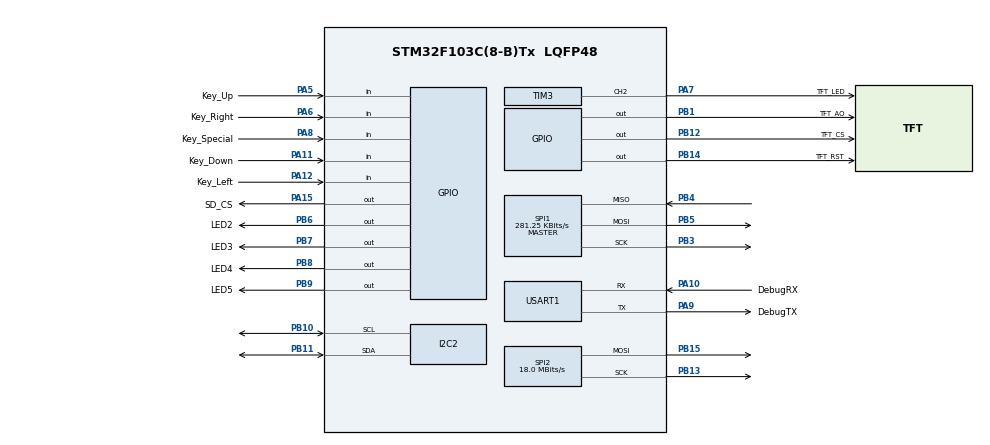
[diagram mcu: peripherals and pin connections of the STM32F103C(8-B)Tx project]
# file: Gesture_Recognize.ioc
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FATFS._MAX_LFN=12
FREERTOS.Queues01=KeyQueue,10,Key_Statu_Typedef,0,Dynamic,NULL,NULL
FREERTOS.Tasks01=defaultTask,-2,64,StartDefaultTask,Default,NULL,Dynamic,NULL,NULL;GUITask,-1,512,StartGUITask,Default,NULL,Dynamic,NULL,NULL;KeyTask,2,128,StartKeyTask,Default,NULL,Dynamic,NULL,NULL;FDCTask,3,256,StartFDCTask,Default,NULL,Dynamic,NULL,NULL
FREERTOS.configENABLE_BACKWARD_COMPATIBILITY=0
FREERTOS.configIDLE_SHOULD_YIELD=0
FREERTOS.configMAX_TASK_NAME_LEN=12
FREERTOS.configMINIMAL_STACK_SIZE=64
FREERTOS.configQUEUE_REGISTRY_SIZE=0
FREERTOS.configTOTAL_HEAP_SIZE=5210
FREERTOS.configUSE_MUTEXES=1
FREERTOS.configUSE_TASK_NOTIFICATIONS=0
FREERTOS.configUSE_TICKLESS_IDLE=0
I2C2.I2C_Mode=I2C_Fast
Mcu.Family=STM32F1
Mcu.Name=STM32F103C(8-B)Tx
Mcu.Package=LQFP48
NVIC.PriorityGroup=NVIC_PRIORITYGROUP_4
NVIC.TIM4_IRQn=true\:0\:0\:false\:false\:true\:false\:false
NVIC.TimeBase=TIM4_IRQn
NVIC.TimeBaseIP=TIM4
PA10.GPIO_Label=DebugRX
PA10.Mode=Asynchronous
PA10.Signal=USART1_RX
PA11.GPIO_Label=Key_Down
PA11.GPIO_PuPd=GPIO_PULLDOWN
PA11.Signal=GPIO_Input
PA12.GPIO_Label=Key_Left
PA12.GPIO_PuPd=GPIO_PULLDOWN
PA12.Signal=GPIO_Input
PA13.Mode=Serial_Wire
PA13.Signal=SYS_JTMS-SWDIO
PA14.Mode=Serial_Wire
PA14.Signal=SYS_JTCK-SWCLK
PA15.GPIO_Label=SD_CS
PA15.Signal=GPIO_Output
PA5.GPIO_Label=Key_Up
PA5.GPIO_PuPd=GPIO_PULLDOWN
PA5.Signal=GPIO_Input
PA6.GPIO_Label=Key_Right
PA6.GPIO_PuPd=GPIO_PULLDOWN
PA6.Signal=GPIO_Input
PA7.GPIO_Label=TFT_LED
PA7.Signal=S_TIM3_CH2
PA8.GPIO_Label=Key_Special
PA8.GPIO_PuPd=GPIO_PULLDOWN
PA8.Signal=GPIO_Input
PA9.GPIO_Label=DebugTX
PA9.Mode=Asynchronous
PA9.Signal=USART1_TX
PB1.GPIO_Label=TFT_AO
PB1.GPIO_Speed=GPIO_SPEED_FREQ_HIGH
PB1.Signal=GPIO_Output
PB10.Mode=I2C
PB10.Signal=I2C2_SCL
PB11.Mode=I2C
PB11.Signal=I2C2_SDA
PB12.GPIO_Label=TFT_CS
PB12.GPIO_Speed=GPIO_SPEED_FREQ_HIGH
PB12.Signal=GPIO_Output
PB13.Mode=TX_Only_Simplex_Unidirect_Master
PB13.Signal=SPI2_SCK
PB14.GPIO_Label=TFT_RST
PB14.GPIO_Speed=GPIO_SPEED_FREQ_HIGH
PB14.Signal=GPIO_Output
PB15.Mode=TX_Only_Simplex_Unidirect_Master
PB15.Signal=SPI2_MOSI
PB3.Mode=Full_Duplex_Master
PB3.Signal=SPI1_SCK
PB4.Mode=Full_Duplex_Master
PB4.Signal=SPI1_MISO
PB5.Mode=Full_Duplex_Master
PB5.Signal=SPI1_MOSI
PB6.GPIO_Label=LED2
PB6.GPIO_Speed=GPIO_SPEED_FREQ_HIGH
PB6.PinState=GPIO_PIN_SET
PB6.Signal=GPIO_Output
PB7.GPIO_Label=LED3
PB7.GPIO_Speed=GPIO_SPEED_FREQ_HIGH
PB7.PinState=GPIO_PIN_SET
PB7.Signal=GPIO_Output
PB8.GPIO_Label=LED4
PB8.GPIO_Speed=GPIO_SPEED_FREQ_HIGH
PB8.PinState=GPIO_PIN_SET
PB8.Signal=GPIO_Output
PB9.GPIO_Label=LED5
PB9.GPIO_Speed=GPIO_SPEED_FREQ_HIGH
PB9.PinState=GPIO_PIN_SET
PB9.Signal=GPIO_Output
PD0-OSC_IN.Mode=HSE-External-Oscillator
PD0-OSC_IN.Signal=RCC_OSC_IN
PD1-OSC_OUT.Mode=HSE-External-Oscillator
PD1-OSC_OUT.Signal=RCC_OSC_OUT
ProjectManager.HeapSize=0x400
ProjectManager.StackSize=0x600
ProjectManager.TargetToolchain=MDK-ARM V5
RCC.AHBFreq_Value=72000000
RCC.APB1CLKDivider=RCC_HCLK_DIV2
RCC.APB1Freq_Value=36000000
RCC.APB1TimFreq_Value=72000000
RCC.APB2Freq_Value=72000000
RCC.APB2TimFreq_Value=72000000
RCC.EnbaleCSS=true
RCC.HCLKFreq_Value=72000000
RCC.HSE_VALUE=12000000
RCC.PLLMUL=RCC_PLL_MUL6
RCC.PLLSourceVirtual=RCC_PLLSOURCE_HSE
RCC.PREFETCH_ENABLE=1
RCC.SYSCLKFreq_VALUE=72000000
RCC.SYSCLKSource=RCC_SYSCLKSOURCE_PLLCLK
RCC.USBFreq_Value=72000000
SH.S_TIM3_CH2.0=TIM3_CH2,PWM Generation2 CH2
SPI1.BaudRatePrescaler=SPI_BAUDRATEPRESCALER_256
SPI1.CLKPhase=SPI_PHASE_2EDGE
SPI1.CLKPolarity=SPI_POLARITY_HIGH
SPI1.CalculateBaudRate=281.25 KBits/s
SPI1.Direction=SPI_DIRECTION_2LINES
SPI1.Mode=SPI_MODE_MASTER
SPI1.VirtualType=VM_MASTER
SPI2.CLKPhase=SPI_PHASE_1EDGE
SPI2.CLKPolarity=SPI_POLARITY_LOW
SPI2.CalculateBaudRate=18.0 MBits/s
SPI2.Direction=SPI_DIRECTION_2LINES
SPI2.Mode=SPI_MODE_MASTER
SPI2.VirtualType=VM_MASTER
TIM3.Channel-PWM\ Generation2\ CH2=TIM_CHANNEL_2
TIM3.Period=11
TIM3.Prescaler=72-1
TIM3.Pulse-PWM\ Generation2\ CH2=11
USART1.VirtualMode=VM_ASYNC
VP_CRC_VS_CRC.Mode=CRC_Activate
VP_FATFS_VS_Generic.Mode=User_defined
VP_FREERTOS_VS_ENABLE.Mode=Enabled
VP_SYS_VS_tim4.Mode=TIM4
VP_TIM3_VS_ClockSourceINT.Mode=Internal
board=custom

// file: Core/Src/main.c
/* USER CODE BEGIN Header */
/**
  ******************************************************************************
  * @file           : main.c
  * @brief          : Main program body
  ******************************************************************************
  * This notice applies to any and all portions of this file
  * that are not between comment pairs USER CODE BEGIN and
  * USER CODE END. Other portions of this file, whether
  * inserted by the user or by software development tools
  * are owned by their respective copyright owners.
  *
  * Copyright (c) 2018 STMicroelectronics International N.V.
  * All rights reserved.
  *
  * Redistribution and use in source and binary forms, with or without
  * modification, are permitted, provided that the following conditions are met:
  *
  * 1. Redistribution of source code must retain the above copyright notice,
  *    this list of conditions and the following disclaimer.
  * 2. Redistributions in binary form must reproduce the above copyright notice,
  *    this list of conditions and the following disclaimer in the documentation
  *    and/or other materials provided with the distribution.
  * 3. Neither the name of STMicroelectronics nor the names of other
  *    contributors to this software may be used to endorse or promote products
  *    derived from this software without specific written permission.
  * 4. This software, including modifications and/or derivative works of this
  *    software, must execute solely and exclusively on microcontroller or
  *    microprocessor devices manufactured by or for STMicroelectronics.
  * 5. Redistribution and use of this software other than as permitted under
  *    this license is void and will automatically terminate your rights under
  *    this license.
  *
  * THIS SOFTWARE IS PROVIDED BY STMICROELECTRONICS AND CONTRIBUTORS "AS IS"
  * AND ANY EXPRESS, IMPLIED OR STATUTORY WARRANTIES, INCLUDING, BUT NOT
  * LIMITED TO, THE IMPLIED WARRANTIES OF MERCHANTABILITY, FITNESS FOR A
  * PARTICULAR PURPOSE AND NON-INFRINGEMENT OF THIRD PARTY INTELLECTUAL PROPERTY
  * RIGHTS ARE DISCLAIMED TO THE FULLEST EXTENT PERMITTED BY LAW. IN NO EVENT
  * SHALL STMICROELECTRONICS OR CONTRIBUTORS BE LIABLE FOR ANY DIRECT, INDIRECT,
  * INCIDENTAL, SPECIAL, EXEMPLARY, OR CONSEQUENTIAL DAMAGES (INCLUDING, BUT NOT
  * LIMITED TO, PROCUREMENT OF SUBSTITUTE GOODS OR SERVICES; LOSS OF USE, DATA,
  * OR PROFITS; OR BUSINESS INTERRUPTION) HOWEVER CAUSED AND ON ANY THEORY OF
  * LIABILITY, WHETHER IN CONTRACT, STRICT LIABILITY, OR TORT (INCLUDING
  * NEGLIGENCE OR OTHERWISE) ARISING IN ANY WAY OUT OF THE USE OF THIS SOFTWARE,
  * EVEN IF ADVISED OF THE POSSIBILITY OF SUCH DAMAGE.
  *
  ******************************************************************************
  */
/* USER CODE END Header */

#include "main.h"
#include "cmsis_os.h"
#include "crc.h"
#include "fatfs.h"
#include "i2c.h"
#include "spi.h"
#include "tim.h"
#include "usart.h"
#include "gpio.h"

void SystemClock_Config(void);
void MX_FREERTOS_Init(void);

int main(void)
{

  /* MCU Configuration--------------------------------------------------------*/

  /* Reset of all peripherals, Initializes the Flash interface and the Systick. */
  HAL_Init();

  /* Configure the system clock */
  SystemClock_Config();

  /* Initialize all configured peripherals */
  MX_GPIO_Init();
  MX_I2C2_Init();
  MX_TIM3_Init();
  MX_CRC_Init();
  MX_SPI1_Init();
  MX_USART1_UART_Init();
  MX_SPI2_Init();
  /* USER CODE BEGIN 2 */
  HAL_TIM_Base_Start(&htim3);
  HAL_TIM_PWM_Start(&htim3, TIM_CHANNEL_2);
  /* USER CODE END 2 */

  /* Call init function for freertos objects (in freertos.c) */
  MX_FREERTOS_Init();

  /* Start scheduler */
  osKernelStart();

  /* We should never get here as control is now taken by the scheduler */

  /* Infinite loop */
  while (1)
  {

  }
}

void SystemClock_Config(void)
{
  LL_FLASH_SetLatency(LL_FLASH_LATENCY_2);

   if(LL_FLASH_GetLatency() != LL_FLASH_LATENCY_2)
  {
    Error_Handler();
  }
  LL_RCC_HSE_Enable();

   /* Wait till HSE is ready */
  while(LL_RCC_HSE_IsReady() != 1)
  {

  }
  LL_RCC_HSE_EnableCSS();
  LL_RCC_PLL_ConfigDomain_SYS(LL_RCC_PLLSOURCE_HSE_DIV_1, LL_RCC_PLL_MUL_6);
  LL_RCC_PLL_Enable();

   /* Wait till PLL is ready */
  while(LL_RCC_PLL_IsReady() != 1)
  {

  }
  LL_RCC_SetAHBPrescaler(LL_RCC_SYSCLK_DIV_1);
  LL_RCC_SetAPB1Prescaler(LL_RCC_APB1_DIV_2);
  LL_RCC_SetAPB2Prescaler(LL_RCC_APB2_DIV_1);
  LL_RCC_SetSysClkSource(LL_RCC_SYS_CLKSOURCE_PLL);

   /* Wait till System clock is ready */
  while(LL_RCC_GetSysClkSource() != LL_RCC_SYS_CLKSOURCE_STATUS_PLL)
  {

  }
  LL_Init1msTick(72000000);
  LL_SYSTICK_SetClkSource(LL_SYSTICK_CLKSOURCE_HCLK);
  LL_SetSystemCoreClock(72000000);
}

void HAL_TIM_PeriodElapsedCallback(TIM_HandleTypeDef *htim)
{
  if (htim->Instance == TIM4) {
    HAL_IncTick();
  }
}

void Error_Handler(void)
{
}

/************************ (C) COPYRIGHT STMicroelectronics *****END OF FILE****/

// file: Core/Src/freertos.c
/* USER CODE BEGIN Header */
/**
  ******************************************************************************
  * File Name          : freertos.c
  * Description        : Code for freertos applications
  ******************************************************************************
  * This notice applies to any and all portions of this file
  * that are not between comment pairs USER CODE BEGIN and
  * USER CODE END. Other portions of this file, whether
  * inserted by the user or by software development tools
  * are owned by their respective copyright owners.
  *
  * Copyright (c) 2018 STMicroelectronics International N.V.
  * All rights reserved.
  *
  * Redistribution and use in source and binary forms, with or without
  * modification, are permitted, provided that the following conditions are met:
  *
  * 1. Redistribution of source code must retain the above copyright notice,
  *    this list of conditions and the following disclaimer.
  * 2. Redistributions in binary form must reproduce the above copyright notice,
  *    this list of conditions and the following disclaimer in the documentation
  *    and/or other materials provided with the distribution.
  * 3. Neither the name of STMicroelectronics nor the names of other
  *    contributors to this software may be used to endorse or promote products
  *    derived from this software without specific written permission.
  * 4. This software, including modifications and/or derivative works of this
  *    software, must execute solely and exclusively on microcontroller or
  *    microprocessor devices manufactured by or for STMicroelectronics.
  * 5. Redistribution and use of this software other than as permitted under
  *    this license is void and will automatically terminate your rights under
  *    this license.
  *
  * THIS SOFTWARE IS PROVIDED BY STMICROELECTRONICS AND CONTRIBUTORS "AS IS"
  * AND ANY EXPRESS, IMPLIED OR STATUTORY WARRANTIES, INCLUDING, BUT NOT
  * LIMITED TO, THE IMPLIED WARRANTIES OF MERCHANTABILITY, FITNESS FOR A
  * PARTICULAR PURPOSE AND NON-INFRINGEMENT OF THIRD PARTY INTELLECTUAL PROPERTY
  * RIGHTS ARE DISCLAIMED TO THE FULLEST EXTENT PERMITTED BY LAW. IN NO EVENT
  * SHALL STMICROELECTRONICS OR CONTRIBUTORS BE LIABLE FOR ANY DIRECT, INDIRECT,
  * INCIDENTAL, SPECIAL, EXEMPLARY, OR CONSEQUENTIAL DAMAGES (INCLUDING, BUT NOT
  * LIMITED TO, PROCUREMENT OF SUBSTITUTE GOODS OR SERVICES; LOSS OF USE, DATA,
  * OR PROFITS; OR BUSINESS INTERRUPTION) HOWEVER CAUSED AND ON ANY THEORY OF
  * LIABILITY, WHETHER IN CONTRACT, STRICT LIABILITY, OR TORT (INCLUDING
  * NEGLIGENCE OR OTHERWISE) ARISING IN ANY WAY OUT OF THE USE OF THIS SOFTWARE,
  * EVEN IF ADVISED OF THE POSSIBILITY OF SUCH DAMAGE.
  *
  ******************************************************************************
  */
/* USER CODE END Header */

#include "FreeRTOS.h"
#include "task.h"
#include "main.h"
#include "cmsis_os.h"

/* USER CODE BEGIN Includes */
#include "gui.h"
#include "BSP_Key.h"
#include "BSP_LED.h"
#include "BSP_FDC2214.h"

#include "stdlib.h"
#include "string.h"

#include "fatfs.h"

#include "DIALOG.h"
#include "arm_math.h"
/* USER CODE END Includes */

/* USER CODE BEGIN Variables */
uint8_t Gest=0;

float32_t Cap_Mean=0;

/* USER CODE END Variables */
osThreadId defaultTaskHandle;
osThreadId GUITaskHandle;
osThreadId KeyTaskHandle;
osThreadId FDCTaskHandle;
osMessageQId KeyQueueHandle;

/* USER CODE BEGIN FunctionPrototypes */
WM_HWIN CreateMenu(void);
/* USER CODE END FunctionPrototypes */

void StartDefaultTask(void const *argument);
void StartGUITask(void const *argument);
void StartKeyTask(void const *argument);
void StartFDCTask(void const *argument);

void MX_FREERTOS_Init(void); /* (MISRA C 2004 rule 8.1) */

void MX_FREERTOS_Init(void)
{

  /* Create the thread(s) */
  /* definition and creation of defaultTask */
  osThreadDef(defaultTask, StartDefaultTask, osPriorityLow, 0, 64);
  defaultTaskHandle = osThreadCreate(osThread(defaultTask), NULL);

  /* definition and creation of GUITask */
  osThreadDef(GUITask, StartGUITask, osPriorityBelowNormal, 0, 512);
  GUITaskHandle = osThreadCreate(osThread(GUITask), NULL);

  /* definition and creation of KeyTask */
  osThreadDef(KeyTask, StartKeyTask, osPriorityHigh, 0, 128);
  KeyTaskHandle = osThreadCreate(osThread(KeyTask), NULL);

  /* definition and creation of FDCTask */
  osThreadDef(FDCTask, StartFDCTask, osPriorityRealtime, 0, 256);
  FDCTaskHandle = osThreadCreate(osThread(FDCTask), NULL);

  /* Create the queue(s) */
  /* definition and creation of KeyQueue */
  osMessageQDef(KeyQueue, 10, Key_Statu_Typedef);
  KeyQueueHandle = osMessageCreate(osMessageQ(KeyQueue), NULL);

}

void StartDefaultTask(void const *argument)
{
  /* USER CODE BEGIN StartDefaultTask */
  /* Infinite loop */
  for (;;)
  {
    LED2_ON;
    osDelay(100);
    LED2_OFF;

    LED3_ON;
    osDelay(100);
    LED3_OFF;

    LED4_ON;
    osDelay(100);
    LED4_OFF;

    LED5_ON;
    osDelay(100);
    LED5_OFF;

    LED4_ON;
    osDelay(100);
    LED4_OFF;

    LED3_ON;
    osDelay(100);
    LED3_OFF;
  }
  /* USER CODE END StartDefaultTask */
}

void StartGUITask(void const *argument)
{
  /* USER CODE BEGIN StartGUITask */
//  WM_HWIN hItem;
  osEvent KeyEvent;
//  uint8_t i = 0;
//  char s[16];

  GUI_Init();
  GUI_SetBkColor(GUI_BLUE);
  GUI_SetColor(GUI_GREEN);
  GUI_Clear();

  CreateMenu();

  //  short Cap[128];

  //  GRAPH_DATA_Handle hFDC_GRAPH_Data;
  //  GRAPH_SCALE_Handle hFDC_GRAPH_Scale; //刻度的句柄
  //  hItem = FDC_Graph();
  //  hItem = WM_GetDialogItem(hItem, 0x800 + 0x01);
  //  GRAPH_SetBorder(hItem, 0, 0, 0, 0);
  // USER START (Optionally insert additional code for further widget initialization) hData = GRAPH_DATA_YT_Create(GUI_GREEN,240, &m, 1);
  //  hFDC_GRAPH_Data = GRAPH_DATA_YT_Create(GUI_GREEN, 128, Cap, 128);
  //  GRAPH_AttachData(hItem, hFDC_GRAPH_Data);

  //  GRAPH_SetGridDistX(hItem, 10); //设置栅格距离
  //  GRAPH_SetGridDistY(hItem, 10);
  //  GRAPH_SetGridVis(hItem, 1);

  //  GRAPH_DATA_YT_SetAlign(hFDC_GRAPH_Data, GRAPH_ALIGN_LEFT); //数据左对齐
  //                                                         //  GRAPH_DATA_YT_Clear(hFDC_GRAPH_Data);                  //清除数据对象的所有数据项

  //  hFDC_GRAPH_Scale = GRAPH_SCALE_Create(30, GUI_TA_RIGHT, GRAPH_SCALE_CF_VERTICAL | GRAPH_SCALE_CF_HORIZONTAL, 10); //刻度创建
  //  GRAPH_AttachScale(hItem, hFDC_GRAPH_Scale);
  //  GRAPH_SCALE_SetFactor(hFDC_GRAPH_Scale, 10); //设置用于计算要绘制的编号的因子，也就是刻度的比例

  //  FDC2214_Init();
  //  hItem =

  /* Infinite loop */
  for (;;)
  {
    KeyEvent = osMessageGet(KeyQueueHandle, osWaitForever);

    if (((Key_Statu_Typedef *)KeyEvent.value.p)->Key_Special_Down_Flag == 1)
    {
      GUI_SendKeyMsg(GUI_KEY_DOWN, 1);
    }
    else
    {
      if (((Key_Statu_Typedef *)KeyEvent.value.p)->Key_Down_Flag == 1)
      {
        GUI_SendKeyMsg(GUI_KEY_TAB, 1);
      }
    }

    if (((Key_Statu_Typedef *)KeyEvent.value.p)->Key_Special_Up_Flag == 1)
    {
      GUI_SendKeyMsg(GUI_KEY_UP, 1);
    }
    else
    {
      if (((Key_Statu_Typedef *)KeyEvent.value.p)->Key_Up_Flag == 1)
      {
        GUI_SendKeyMsg(GUI_KEY_BACKTAB, 1);
      }
    }

    if (((Key_Statu_Typedef *)KeyEvent.value.p)->Key_Right_Flag == 1)
    {
      GUI_SendKeyMsg(GUI_KEY_ENTER, 1);
    }

    if (((Key_Statu_Typedef *)KeyEvent.value.p)->Key_Left_Flag == 1)
    {
      GUI_SendKeyMsg(GUI_KEY_SPACE, 1);
      GUI_SendKeyMsg(GUI_KEY_BACKSPACE, 1);
    }
    //    for (i = 0; i < 128; i++)
    //    {
    //      Cap[i] = (short)(FDC2214_Calculate_Cap(FCD2214_GetCap_Data(0)) / 10);
    //  //				Cap[i]=i*i;
    //      GRAPH_DATA_YT_AddValue(hFDC_GRAPH_Data, Cap[i]);
    //      osDelay(10);
    //    }

    GUI_Exec();
    osDelay(100);
  }
  /* USER CODE END StartGUITask */
}

void StartKeyTask(void const *argument)
{
  /* USER CODE BEGIN StartKeyTask */
  Key_Statu_Typedef Key;
  Key_init(&Key);
  /* Infinite loop */
  for (;;)
  {
    Scan_Key(&Key);
    if (Key.Count > 80)
    {
      if (Key.Key_Special_Flag)
      {
        Key.Key_Special_Flag = 2;
      }
      else if (Key.Key_Left_Flag)
      {
        Key.Key_Left_Flag = 2;
      }

      else if (Key.Key_Right_Flag)
      {
        Key.Key_Right_Flag = 2;
      }

      else if (Key.Key_Down_Flag)
      {
        Key.Key_Down_Flag = 2;
      }

      else if (Key.Key_Up_Flag)
      {
        Key.Key_Up_Flag = 2;
      }
      else if (Key.Key_WKUP_Flag)
      {
        Key.Key_WKUP_Flag = 2;

        //        osMessagePut(StopQueueHandle, (uint32_t)Key.Key_WKUP_Flag, 10);
      }
    }
    osMessagePut(KeyQueueHandle, (uint32_t)&Key, 0);

    osDelay(100);
  }
  /* USER CODE END StartKeyTask */
}

void StartFDCTask(void const *argument)
{
  /* USER CODE BEGIN StartFDCTask */
  float32_t FDC_Cap = 0;

	 float32_t Cap_Buf[2]={0};

  uint8_t FDC_Buf_index = 0;
	 uint8_t Cap_Mean_index = 0;
	 float32_t Cap_rate = 0;

  //  char Data_buf[22] = {0};

  FDC2214_Init();
  //  FRESULT Res;
  //  char Fat_Wdata[1024] = {0};
  //  uint32_t byteswritten, bytesread; /* File write/read counts */

  //  MX_FATFS_Init();
  //  Res = f_mount(&USERFatFS, (const TCHAR *)USERPath, 1);
  //  if (Res != FR_OK)
  //  {
  //    while (1)
  //      ;
  //  }

  /* Infinite loop */
  for (;;)
  {
    /************数据变化率判断 *************/
    FDC_Cap = FDC2214_Calculate_Cap(FCD2214_GetCap_Data(0));
//			 printf("Cap:%10.10f\r\n", FDC_Cap);

						Cap_Buf[FDC_Buf_index]=FDC_Cap;
						FDC_Buf_index++;
						if (FDC_Buf_index >= 2)
						{
								FDC_Buf_index = 0;

					/* 变化率太高则不稳定 具体数值可以设置为 cap_buf(0)的2倍  每200ms 算一次变化率*/
							 Cap_rate=(Cap_Buf[1]-Cap_Buf[0])*5;
//						 	printf("Rate:%10.10f\r\n", Cap_rate);
							 if( Cap_rate >=50.0f  && Cap_rate <=-50.0f)
								{
									Cap_Mean=0;
								 Gest=0;
								}
								/************稳定数值（变化率约为0.2左右）基础上 判断手势 *************/
							 else if( Cap_rate <= 15.0f && Cap_rate >= -15.0f )
								{
									 Cap_Mean_index++;
									 Cap_Mean+=(Cap_Buf[1]+Cap_Buf[0])/2;
									 if(Cap_Mean_index>=2)
										{
										 Cap_Mean/=2;
											printf("Mean:%10.10f\r\n", Cap_Mean);
										}

								}
				  }

    //    Cap_Buf[FDC_index] = FDC_Cap;
    //    sprintf(Data_buf, "%10.10f\n", FDC_Cap);
    //    FDC_Data = FCD2214_GetCap_Data(0);
    //     strcat((char *)Fat_Wdata, (char *)Data_buf);

    //					Res = f_open(&USERFile, "Record.txt", FA_CREATE_ALWAYS | FA_WRITE);
    //					if (Res != FR_OK)
    //					{
    //							while (1)
    //									;
    //					}
    //    Res = f_write(&USERFile, Fat_Wdata, sizeof(Fat_Wdata), (void *)&byteswritten);
    //    if (Res != FR_OK)
    //    {
    //      while (1)
    //        ;
    //    }
    //    f_close(&USERFile);
    osDelay(10);
  }
  /* USER CODE END StartFDCTask */
}

/************************ (C) COPYRIGHT STMicroelectronics *****END OF FILE****/
